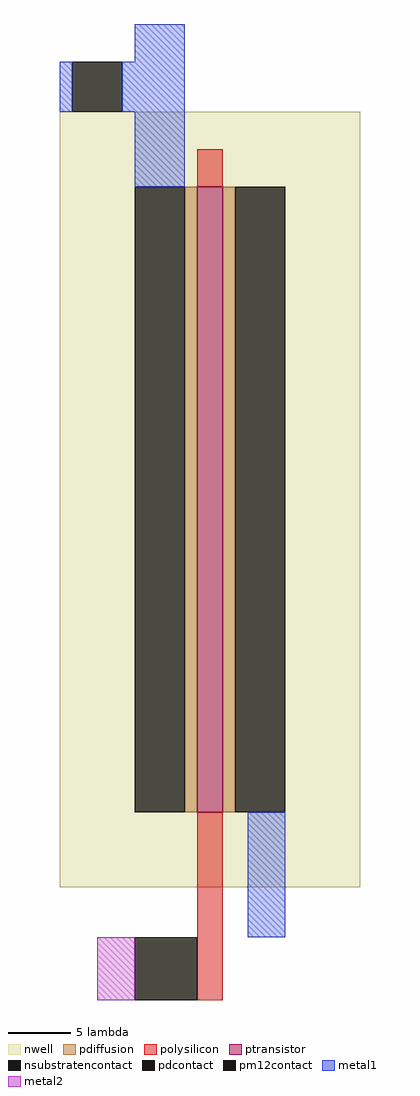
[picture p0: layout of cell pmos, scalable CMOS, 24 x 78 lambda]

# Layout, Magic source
magic
tech scmos
<< nwell >>
rect 0 0 24 62
<< ptransistor >>
rect 11 6 13 56
<< pdiffusion >>
rect 10 6 11 56
rect 13 6 14 56
<< pdcontact >>
rect 6 6 10 56
rect 14 6 18 56
<< nsubstratencontact >>
rect 1 62 5 66
<< polysilicon >>
rect 11 56 13 59
rect 11 -9 13 6
<< metal1 >>
rect 6 66 10 69
rect 0 62 1 66
rect 5 62 10 66
rect 6 56 10 62
rect 15 -4 18 6
<< pm12contact >>
rect 6 -9 11 -4
<< metal2 >>
rect 3 -9 6 -4
<< end >>
